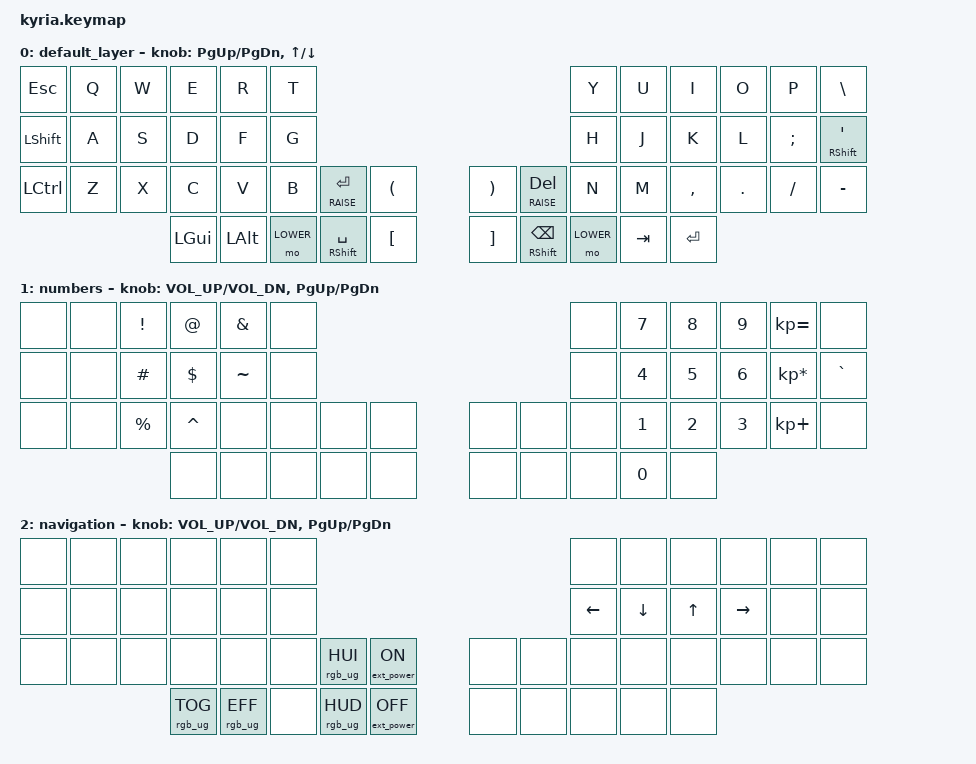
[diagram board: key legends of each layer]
/*
 * Copyright (c) 2020 The ZMK Contributors
 *
 * SPDX-License-Identifier: MIT
 */

#include <behaviors.dtsi>
#include <dt-bindings/zmk/keys.h>
#include <dt-bindings/zmk/ext_power.h>
#include <dt-bindings/zmk/rgb.h>

#define DEFAULT 0
#define LOWER   1
#define RAISE   2

/ {
	keymap {
		compatible = "zmk,keymap";

		default_layer {
// ---------------------------------------------------------------------------------------------------------------------------------
// |  ESC  	|  Q  |  W  |  E   |  R   |  T   |                                          |  Y   |  U    |  I    |  O   |   P   |   \  	  |
// |  SHIFT |  A  |  S  |  D   |  F   |  G   |                                          |  H   |  J    |  K    |  L   |   ;   | SHIFT  '  |
// |  CTL 	|  Z  |  X  |  C   |  V   |  B   | RET	| (	|  				  | ) | DEL		|  N   |  M    |  ,    |  .   |   /   | - _  	  |
//                      | GUI  | LALT | LOWER| SPACE| [{|  				  | }]|  BSPC   | NUM  | BSPC  | R-ALT |
			bindings = <
	&kp ESC   &kp Q &kp W &kp E 	&kp R 	 &kp T                                                										&kp Y 	  &kp U   &kp I     &kp O   &kp P    &kp BSLH
	&kp LSHFT &kp A &kp S &kp D 	&kp F 	 &kp G                                                										&kp H 	  &kp J   &kp K     &kp L   &kp SEMI &mt RSHIFT SQT
	&kp LCTRL &kp Z &kp X &kp C 	&kp V 	 &kp B 	   &lt RAISE RET   	&kp LEFT_PARENTHESIS    &kp RIGHT_PARENTHESIS &lt RAISE DEL 	&kp N 	  &kp M   &kp COMMA &kp DOT &kp FSLH &kp MINUS
	                 	  &kp LGUI 	&kp LALT &mo LOWER &mt RSHIFT SPACE &kp LEFT_BRACKET        &kp RIGHT_BRACKET     &mt RSHIFT BSPC 	&mo LOWER &kp TAB &kp ENTER
			>;

			sensor-bindings = <&inc_dec_kp PG_UP PG_DN &inc_dec_kp UP DOWN>;
		};
		numbers {
// ---------------------------------------------------------------------------------------------------------------------------------
// | _ | _ |  !  |  @   |  &   | _ |                  | _ |  7  |  8  |  9  |   =   | _ |
// | _ | _ |  #  |  $   |  ~   | _ |                  | _ |  4  |  5  |  6  |   *   | ` |
// | _ | _ |  %  |  ^   |  _   | _ | _ | _ |  | _ | _ | _ |  1  |  2  |  3  |   +   | _ |
//               |  _   |  _   | _ | _ | _ |  | _ | _ | _ |  0  |  _  |
			bindings = <
	&none &none &kp EXCL 	&kp AT_SIGN &kp AMPS	&none                              &none &kp N7  &kp N8 &kp N9 &kp KP_EQUAL    	&none
	&none &none &kp HASH 	&kp DOLLAR 	&kp TILDE	&none                              &none &kp N4  &kp N5 &kp N6 &kp KP_MULTIPLY 	&kp GRAVE
	&none &none &kp PERCENT &kp CARET 	&none 		&none &none &none      &none &none &none &kp N1  &kp N2 &kp N3 &kp KP_PLUS 		&none
	                 		&none 		&none 		&none &none &none      &none &none &none &kp N0 &none
			>;

			sensor-bindings = <&inc_dec_kp C_VOL_UP C_VOL_DN &inc_dec_kp PG_UP PG_DN>;
		};
		navigation {
// ---------------------------------------------------------------------------------------------------------------------------------
// | _ | _ |  _  |  _  		|  _  		| _ |                  				| _ |  _  |  _  |  _  |   _   | _ |
// | _ | _ |  _  |  _  		|  _  		| _ |                  				| l |  d  |  u  |  r  |   _   | _ |
// | _ | _ |  _  |  _  		|  _  		| _ | RGB_HUI | EP_ON  |  | _ | _ 	| _ |  _  |  _  |  _  |   _   | _ |
//               | RGB_TOG 	| RGB_EFF 	| _ | RGB_HUD | EP_OFF |  | _ | _ 	| _ |  _  |  _  |
			bindings = <
	&none &none &none 	&none 			&none 			&none                              							&none 		&none 		&none 	&none 		&none &none
	&none &none &none 	&none 			&none 			&none                              							&kp LEFT 	&kp DOWN 	&kp UP 	&kp RIGHT 	&none &none
	&none &none &none 	&none 			&none 			&none &rgb_ug RGB_HUI &ext_power EP_ON      &none &none 	&none 		&none 		&none 	&none 		&none &none
	                	&rgb_ug RGB_TOG &rgb_ug RGB_EFF &none &rgb_ug RGB_HUD &ext_power EP_OFF	  	&none &none 	&none 		&none 		&none
			>;

			sensor-bindings = <&inc_dec_kp C_VOL_UP C_VOL_DN &inc_dec_kp PG_UP PG_DN>;
		};
	};
};
